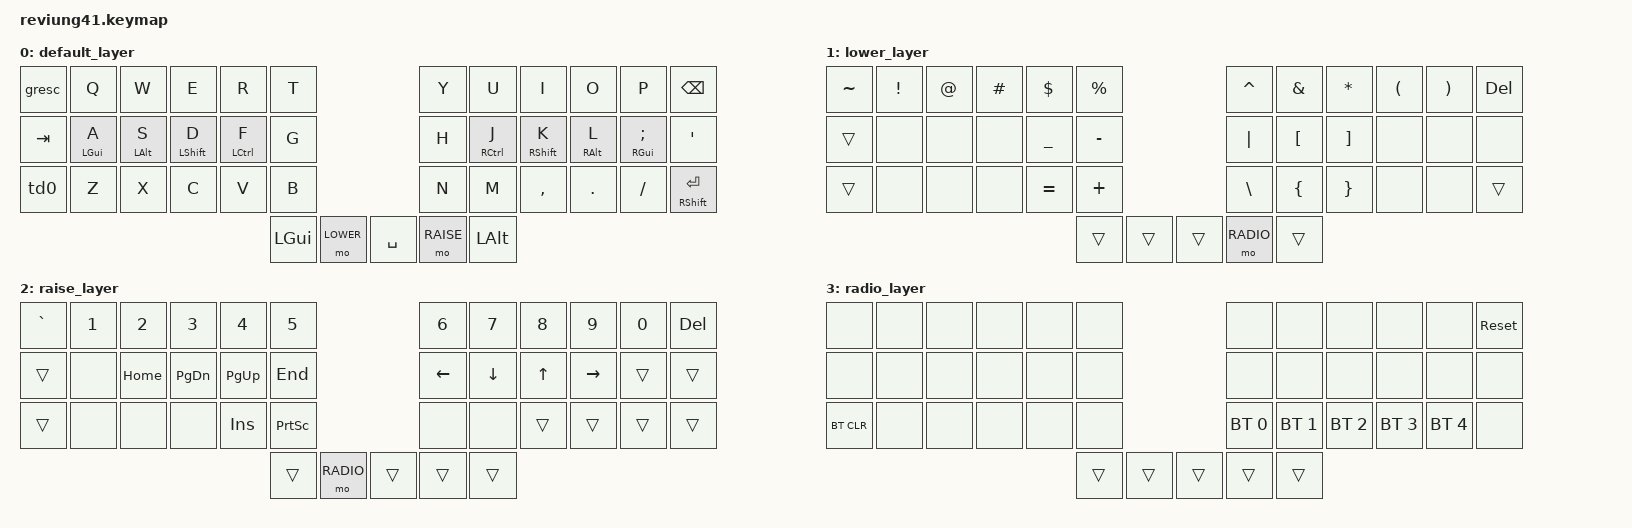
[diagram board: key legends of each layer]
/*
 * Copyright (c) 2020 The ZMK Contributors
 *
 * SPDX-License-Identifier: MIT
 */

#include <behaviors.dtsi>
#include <dt-bindings/zmk/keys.h>
#include <dt-bindings/zmk/bt.h>
#include <dt-bindings/zmk/rgb.h>

#define DEFAULT 0
#define LOWER   1
#define RAISE   2
#define RADIO   3

/ {
    behaviors {
        hml: homerow_mods_left {
            compatible = "zmk,behavior-hold-tap";
            label = "HOMEROW_MODS_LEFT";
            #binding-cells = <2>;
            tapping-term-ms = <200>;
            quick-tap-ms = <175>;
            require-prior-idle-ms = <150>;
            flavor = "balanced";
            bindings = <&kp>, <&kp>;
            hold-trigger-key-positions = <6 7 8 9 10 11 18 19 20 21 22 23 30 31 32 33 34 35 39 40>;
            hold-trigger-on-release;
        };

        hmr: homerow_mods_right {
            compatible = "zmk,behavior-hold-tap";
            label = "HOMEROW_MODS_RIGHT";
            #binding-cells = <2>;
            tapping-term-ms = <200>;
            quick-tap-ms = <175>;
            require-prior-idle-ms = <150>;
            flavor = "balanced";
            bindings = <&kp>, <&kp>;
            hold-trigger-key-positions = <0 1 2 3 4 5 12 13 14 15 16 17 24 25 26 27 28 29 36 37>;
            hold-trigger-on-release;
        };

        td0: tap_dance_0 {
            compatible = "zmk,behavior-tap-dance";
            label = "TAP_DANCE_0";
            #binding-cells = <0>;
            tapping-term-ms = <200>;
            bindings = <&kp LSHIFT>, <&caps_word>;
        };
    };
};
 

/ {
           keymap {
                compatible = "zmk,keymap";

                default_layer {
                       bindings = <
   &gresc     &kp Q &kp W &kp E &kp R &kp T                                 &kp Y &kp U  &kp I  &kp O      &kp P    &kp BSPC
   &kp TAB    &hml LGUI A  &hml LALT S  &hml LSHIFT D  &hml LCTRL F &kp G   &kp H  &hmr RCTRL J  &hmr RSHIFT K  &hmr RALT L  &hmr RGUI SEMI &kp SQT
   &td0 &kp Z &kp X &kp C &kp V &kp B                                       &kp N &kp M  &kp COMMA &kp DOT &kp FSLH &mt RSHFT RET
                                            &kp LGUI  &mo LOWER &kp SPACE &mo RAISE  &kp LALT
                        >;
                };

                lower_layer {
                       bindings = <
   &kp TILDE &kp EXCL &kp AT  &kp HASH &kp DLLR  &kp PRCNT   &kp CARET &kp AMPS &kp STAR &kp LPAR &kp RPAR &kp DEL
   &trans    &none    &none   &none    &kp UNDER &kp MINUS   &kp PIPE  &kp LBKT &kp RBKT &none    &none    &none
   &trans    &none    &none   &none    &kp EQUAL &kp PLUS    &kp BSLH  &kp LBRC &kp RBRC &none    &none    &trans
                                 &trans &trans &trans &mo RADIO &trans
                        >;
                };

                raise_layer {
                       bindings = <
   &kp GRAVE &kp N1 &kp N2    &kp N3     &kp N4     &kp N5      &kp N6   &kp N7   &kp N8 &kp N9    &kp N0 &kp DEL
   &trans    &none  &kp HOME  &kp PG_DN  &kp PG_UP  &kp END     &kp LEFT &kp DOWN &kp UP &kp RIGHT &trans &trans
   &trans    &none  &none     &none      &kp INS    &kp PSCRN   &none    &none    &trans &trans    &trans &trans
                                 &trans &mo RADIO &trans &trans &trans
                        >;
                };

                radio_layer {
                       bindings = <
   &none &none &none &none &none &none      &none         &none        &none        &none        &none         &sys_reset
   &none &none &none &none &none &none      &none         &none        &none        &none        &none         &none
   &bt BT_CLR &none &none &none &none &none &bt BT_SEL 0  &bt BT_SEL 1 &bt BT_SEL 2 &bt BT_SEL 3 &bt BT_SEL 4  &none
                                 &trans &trans &trans &trans &trans
                        >;
                };
        };
};
